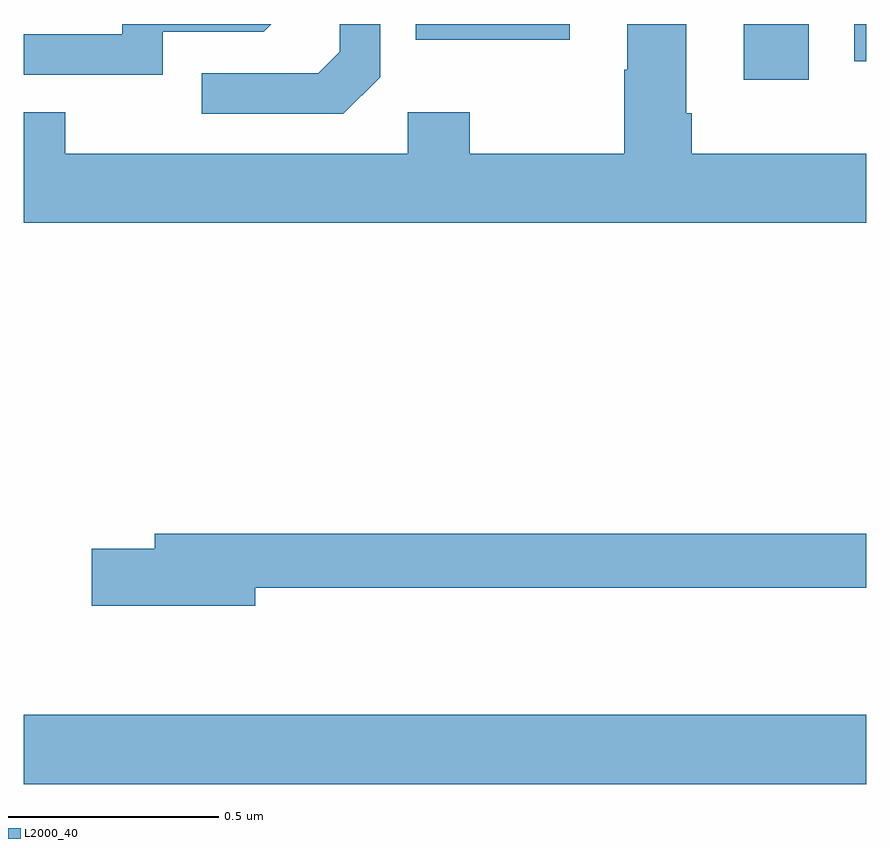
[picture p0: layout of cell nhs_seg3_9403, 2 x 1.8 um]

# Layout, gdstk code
import gdstk
lib = gdstk.Library(unit=1e-6, precision=1e-09)
def R(c, l, rs):  # rectangles x0, y0, x1, y1
    for r in rs: c.add(gdstk.rectangle(r[:2], r[2:], *l))
def P(c, l, *ps):  # polygons
    for p in ps: c.add(gdstk.Polygon(p, *l))
L2000_40 = (2000, 40)

nhs_seg3_9403 = lib.new_cell('nhs_seg3_9403')
R(nhs_seg3_9403, L2000_40, [(228,687.596,230,687.76), (229.709,689.268,229.864,689.4), (229.971,689.311,230,689.4), (228.931,689.363,229.296,689.4)])
P(nhs_seg3_9403, L2000_40, [(230,689.092),(229.586,689.092),(229.586,689.188),(229.573,689.188),(229.573,689.4),(229.433,689.4),(229.433,689.291),(229.426,689.291),(229.426,689.092),(229.059,689.092),(229.059,689.191),(228.912,689.191),(228.912,689.092),(228.099,689.092),(228.099,689.191),(228,689.191),(228,688.928),(230,688.928)],
  [(228.33,689.382),(228.57,689.382),(228.588,689.4),(228.234,689.4),(228.234,689.376),(228,689.376),(228,689.28),(228.33,689.28)],
  [(228.846,689.274),(228.846,689.4),(228.75,689.4),(228.75,689.334),(228.699,689.283),(228.423,689.283),(228.423,689.187),(228.759,689.187)],
  [(228.55,688.062),(230,688.062),(230,688.19),(228.311,688.19),(228.311,688.154),(228.162,688.154),(228.162,688.019),(228.55,688.019)])

lib.write_gds('nhs_seg3_9403.gds')
